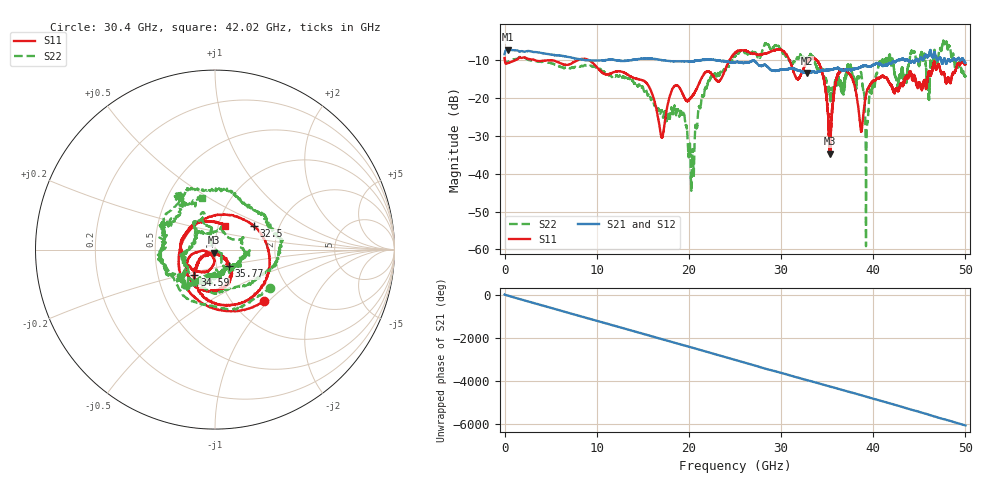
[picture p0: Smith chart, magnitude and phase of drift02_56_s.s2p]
!Created with skrf (http://scikit-rf.org).
# Hz S RI R 50.0
!freq ReS11 ImS11 ReS21 ImS21 ReS12 ImS12 ReS22 ImS22
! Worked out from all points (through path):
!   10001 points, 300 kHz to 50 GHz, reference 50 ohm
!   highest |S21| = -7.31 dB at 325.3 MHz (marker M1); lowest = -13.4 dB at 32.78 GHz (marker M2)
!   group delay of S21, straight-line fit = 335 ps
!   lowest |S11| = -34.7 dB at 35.28 GHz (marker M3), VSWR 1.04, Z = 49.4 - j1.73 ohm
!   |S11| at or under -10 dB: 3.231 GHz to 8.008 GHz (4.777 GHz wide, 85 % of centre); 9.108 GHz to 24.41 GHz (15.31 GHz wide, 91.3 % of centre); 33.85 GHz to end of sweep (the widest 3 of 7)
!   |S22| runs from -59.1 to -4.9 dB; largest |S21 - S12| = 0.013
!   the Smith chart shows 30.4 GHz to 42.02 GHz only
!   S11 on the Smith chart (normalised r, x): 30.4 GHz: 1.38, -0.94; 32.5 GHz: 1.48, +0.41; 34.59 GHz: 0.76, -0.23; 35.77 GHz: 1.15, -0.21; 42.02 GHz: 1.08, +0.29
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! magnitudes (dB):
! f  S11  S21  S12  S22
! 300 kHz  -9.5  -8.5  -8.4  -9.4
! 325.3 MHz  -10.9  -7.3  -7.3  -10.5
! 8.335 GHz  -9.7  -9.9  -9.9  -11.6
! 16.67 GHz  -25.6  -9.9  -9.9  -22.8
! 19.31 GHz  -18.9  -10.4  -10.3  -24.5
! 20.37 GHz  -19.5  -10.3  -10.3  -34.8
! 21.94 GHz  -13.1  -9.9  -10.0  -17.3
! 25 GHz  -8.1  -10.6  -10.6  -9.1
! 30.4 GHz  -8.0  -12.5  -12.5  -8.5
! 32.5 GHz  -11.9  -13.2  -13.3  -9.5
! 32.78 GHz  -10.7  -13.4  -13.5  -9.8
! 33.34 GHz  -9.5  -13.1  -13.2  -9.0
! 34.59 GHz  -14.7  -12.7  -12.7  -13.3
! 35.28 GHz  -34.7  -12.5  -12.5  -18.5
! 35.77 GHz  -18.4  -12.3  -12.4  -18.0
! 37.24 GHz  -13.3  -12.7  -12.5  -11.6
! 38.56 GHz  -26.2  -12.0  -11.9  -13.9
! 39.32 GHz  -18.2  -11.6  -11.6  -27.4
! 41.67 GHz  -15.7  -10.9  -11.1  -9.5
! 42.02 GHz  -16.9  -10.8  -10.8  -10.6
! 47.76 GHz  -14.4  -9.8  -9.6  -5.6
! 50 GHz  -11.2  -10.8  -10.8  -14.0
